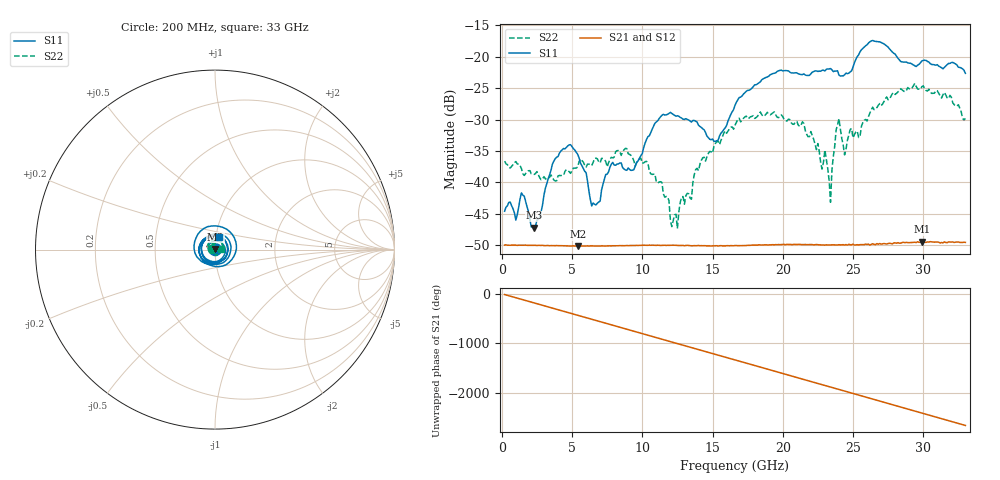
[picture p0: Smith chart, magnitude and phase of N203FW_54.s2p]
# GHZ S RI R 50
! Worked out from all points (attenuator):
!   329 points, 200 MHz to 33 GHz, reference 50 ohm
!   highest |S21| = -49.40 dB at 29.9 GHz (marker M1); lowest = -50.1 dB at 5.4 GHz (marker M2)
!   lowest |S11| = -47.2 dB at 2.3 GHz (marker M3), VSWR 1.01, Z = 50.1 + j0.418 ohm
!   |S11| at or under -10 dB: start of sweep to end of sweep
!   |S22| runs from -47.3 to -24.3 dB; largest |S21 - S12| = 8.8e-05
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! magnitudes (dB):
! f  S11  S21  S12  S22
! 200 MHz  -44.6  -49.9  -49.9  -36.6
! 1 GHz  -46.0  -50.0  -50.0  -36.7
! 1.4 GHz  -41.7  -50.0  -50.0  -37.8
! 2.3 GHz  -47.2  -50.0  -50.0  -38.7
! 3.8 GHz  -36.2  -50.1  -50.0  -39.8
! 5.4 GHz  -35.5  -50.1  -50.1  -37.6
! 5.7 GHz  -37.3  -50.1  -50.1  -36.5
! 6.7 GHz  -43.6  -50.1  -50.1  -36.1
! 11.2 GHz  -29.8  -50.0  -50.0  -39.9
! 12.5 GHz  -29.4  -50.0  -50.0  -47.3
! 12.8 GHz  -29.8  -50.0  -50.0  -42.3
! 15.2 GHz  -33.5  -50.1  -50.1  -33.9
! 16.6 GHz  -27.7  -50.0  -50.0  -30.9
! 22.1 GHz  -22.5  -49.9  -49.9  -32.5
! 22.8 GHz  -22.2  -49.9  -49.9  -37.9
! 23 GHz  -22.3  -50.0  -49.9  -34.9
! 23.4 GHz  -21.9  -49.9  -49.9  -43.1
! 24 GHz  -22.9  -49.9  -49.9  -29.9
! 24.4 GHz  -22.9  -49.9  -49.8  -35.6
! 27.6 GHz  -18.8  -49.7  -49.7  -26.7
! 29.9 GHz  -20.7  -49.4  -49.5  -24.8
! 33 GHz  -22.7  -49.5  -49.6  -29.8
